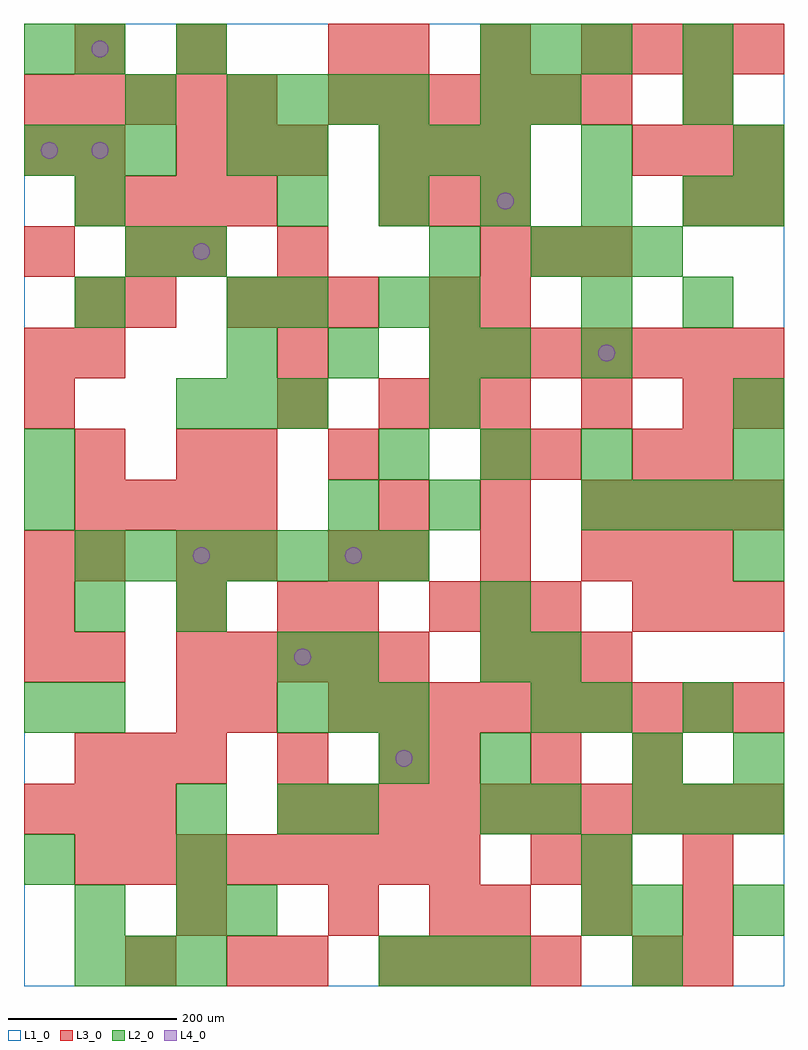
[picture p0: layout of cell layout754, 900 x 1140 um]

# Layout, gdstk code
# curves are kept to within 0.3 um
import gdstk
lib = gdstk.Library(unit=1e-6, precision=1e-09)
def R(c, l, rs):  # rectangles x0, y0, x1, y1
    for r in rs: c.add(gdstk.rectangle(r[:2], r[2:], *l))
def A(c, l, x, y, w, h, nx, ny, dx, dy):  # array of equal rectangles
    R(c, l, [(x+i*dx, y+j*dy, x+i*dx+w, y+j*dy+h) for i in range(nx) for j in range(ny)])
def P(c, l, *ps):  # polygons
    for p in ps: c.add(gdstk.Polygon(p, *l))
L1_0 = (1, 0)
L2_0 = (2, 0)
L3_0 = (3, 0)
L4_0 = (4, 0)

layout754 = lib.new_cell('layout754')
R(layout754, L1_0, [(0,0,900,1140)])
A(layout754, L2_0, 60, 0, 60, 60, 3, 1, 60, 0)
A(layout754, L2_0, 420, 0, 60, 60, 3, 2, 60, 960)
A(layout754, L2_0, 180, 60, 60, 60, 1, 3, 0, 60)
A(layout754, L2_0, 360, 180, 60, 60, 1, 3, 0, 180)
A(layout754, L2_0, 720, 180, 60, 60, 3, 1, 60, 0)
A(layout754, L2_0, 300, 300, 60, 60, 3, 1, 60, 0)
A(layout754, L2_0, 540, 420, 60, 60, 1, 3, 0, 300)
A(layout754, L2_0, 60, 480, 60, 60, 7, 1, 60, 0)
A(layout754, L2_0, 480, 540, 60, 60, 1, 3, 0, 120)
A(layout754, L2_0, 660, 540, 60, 60, 4, 1, 60, 0)
A(layout754, L2_0, 420, 600, 60, 60, 3, 1, 120, 0)
A(layout754, L2_0, 180, 660, 60, 60, 3, 1, 60, 0)
A(layout754, L2_0, 240, 720, 60, 60, 3, 1, 120, 0)
A(layout754, L2_0, 600, 840, 60, 60, 3, 1, 60, 0)
A(layout754, L2_0, 300, 900, 60, 60, 5, 1, 120, 0)
A(layout754, L2_0, 0, 960, 60, 60, 3, 1, 60, 0)
A(layout754, L2_0, 240, 1020, 60, 60, 4, 1, 60, 0)
A(layout754, L2_0, 540, 1080, 60, 60, 3, 1, 60, 0)
R(layout754, L2_0, [(720,0,780,60), (60,60,120,120), (240,60,300,120), (660,60,720,120), (720,60,780,120), (840,60,900,120), (0,120,60,180), (660,120,720,180), (300,180,360,240), (540,180,600,240), (600,180,660,240), (420,240,480,300), (540,240,600,300), (720,240,780,300), (840,240,900,300), (0,300,60,360), (60,300,120,360), (600,300,660,360), (660,300,720,360), (780,300,840,360), (300,360,360,420), (540,360,600,420), (600,360,660,420), (60,420,120,480), (180,420,240,480), (840,480,900,540), (0,540,60,600), (0,600,60,660), (840,600,900,660), (840,660,900,720), (660,720,720,780), (60,780,120,840), (240,780,300,840), (300,780,360,840), (420,780,480,840), (660,780,720,840), (780,780,840,840), (120,840,180,900), (180,840,240,900), (480,840,540,900), (60,900,120,960), (840,900,900,960), (240,960,300,1020), (300,960,360,1020), (660,960,720,1020), (840,960,900,1020), (120,1020,180,1080), (600,1020,660,1080), (780,1020,840,1080), (0,1080,60,1140), (60,1080,120,1140), (180,1080,240,1140), (780,1080,840,1140)])
A(layout754, L3_0, 420, 0, 60, 60, 4, 1, 60, 0)
A(layout754, L3_0, 540, 60, 60, 60, 3, 1, 120, 0)
A(layout754, L3_0, 60, 120, 60, 60, 8, 1, 60, 0)
A(layout754, L3_0, 0, 180, 60, 60, 3, 1, 60, 0)
A(layout754, L3_0, 300, 180, 60, 60, 10, 1, 60, 0)
A(layout754, L3_0, 60, 240, 60, 60, 3, 1, 60, 0)
A(layout754, L3_0, 480, 240, 60, 60, 3, 1, 120, 0)
A(layout754, L3_0, 360, 300, 60, 60, 9, 1, 60, 0)
A(layout754, L3_0, 0, 360, 60, 60, 1, 3, 0, 60)
A(layout754, L3_0, 60, 360, 60, 60, 1, 4, 0, 120)
A(layout754, L3_0, 180, 360, 60, 60, 5, 1, 60, 0)
A(layout754, L3_0, 540, 360, 60, 60, 3, 2, 60, 480)
A(layout754, L3_0, 480, 420, 60, 60, 3, 1, 60, 0)
A(layout754, L3_0, 720, 420, 60, 60, 3, 2, 60, 120)
A(layout754, L3_0, 420, 480, 60, 60, 3, 2, 120, 60)
A(layout754, L3_0, 60, 540, 60, 60, 4, 2, 60, 360)
A(layout754, L3_0, 180, 600, 60, 60, 1, 3, 0, 240)
A(layout754, L3_0, 420, 660, 60, 60, 3, 2, 60, 240)
A(layout754, L3_0, 0, 720, 60, 60, 1, 3, 0, 120)
A(layout754, L3_0, 480, 720, 60, 60, 7, 1, 60, 0)
A(layout754, L3_0, 240, 780, 60, 60, 3, 1, 60, 0)
A(layout754, L3_0, 180, 960, 60, 60, 3, 1, 60, 0)
A(layout754, L3_0, 420, 960, 60, 60, 3, 1, 60, 0)
A(layout754, L3_0, 720, 960, 60, 60, 3, 2, 60, 120)
A(layout754, L3_0, 0, 1020, 60, 60, 5, 1, 60, 0)
A(layout754, L3_0, 360, 1020, 60, 60, 6, 1, 60, 0)
A(layout754, L3_0, 420, 1080, 60, 60, 3, 1, 120, 0)
R(layout754, L3_0, [(120,0,180,60), (240,0,300,60), (300,0,360,60), (720,0,780,60), (780,0,840,60), (180,60,240,120), (360,60,420,120), (480,60,540,120), (600,120,660,180), (660,120,720,180), (780,120,840,180), (300,240,360,300), (420,240,480,300), (180,300,240,360), (240,300,300,360), (180,420,240,480), (300,420,360,480), (360,420,420,480), (180,480,240,540), (240,480,300,540), (360,480,420,540), (720,480,780,540), (780,480,840,540), (240,600,300,660), (360,600,420,660), (540,600,600,660), (600,600,660,660), (720,600,780,660), (780,600,840,660), (0,660,60,720), (300,660,360,720), (660,660,720,720), (780,660,840,720), (840,660,900,720), (300,720,360,780), (60,780,120,840), (120,780,180,840), (480,780,540,840), (540,780,600,840), (120,840,180,900), (300,840,360,900), (780,900,840,960), (840,900,900,960), (60,960,120,1020), (780,1020,840,1080), (60,1080,120,1140), (360,1080,420,1140)])
P(layout754, L4_0, [(40,990),(39.239,993.827),(37.071,997.071),(33.827,999.239),(30,1000),(26.173,999.239),(22.929,997.071),(20.761,993.827),(20,990),(20.761,986.173),(22.929,982.929),(26.173,980.761),(30,980),(33.827,980.761),(37.071,982.929),(39.239,986.173)],
  [(100,990),(99.239,993.827),(97.071,997.071),(93.827,999.239),(90,1000),(86.173,999.239),(82.929,997.071),(80.761,993.827),(80,990),(80.761,986.173),(82.929,982.929),(86.173,980.761),(90,980),(93.827,980.761),(97.071,982.929),(99.239,986.173)],
  [(100,1110),(99.239,1113.827),(97.071,1117.071),(93.827,1119.239),(90,1120),(86.173,1119.239),(82.929,1117.071),(80.761,1113.827),(80,1110),(80.761,1106.173),(82.929,1102.929),(86.173,1100.761),(90,1100),(93.827,1100.761),(97.071,1102.929),(99.239,1106.173)],
  [(220,510),(219.239,513.827),(217.071,517.071),(213.827,519.239),(210,520),(206.173,519.239),(202.929,517.071),(200.761,513.827),(200,510),(200.761,506.173),(202.929,502.929),(206.173,500.761),(210,500),(213.827,500.761),(217.071,502.929),(219.239,506.173)],
  [(220,870),(219.239,873.827),(217.071,877.071),(213.827,879.239),(210,880),(206.173,879.239),(202.929,877.071),(200.761,873.827),(200,870),(200.761,866.173),(202.929,862.929),(206.173,860.761),(210,860),(213.827,860.761),(217.071,862.929),(219.239,866.173)],
  [(340,390),(339.239,393.827),(337.071,397.071),(333.827,399.239),(330,400),(326.173,399.239),(322.929,397.071),(320.761,393.827),(320,390),(320.761,386.173),(322.929,382.929),(326.173,380.761),(330,380),(333.827,380.761),(337.071,382.929),(339.239,386.173)],
  [(400,510),(399.239,513.827),(397.071,517.071),(393.827,519.239),(390,520),(386.173,519.239),(382.929,517.071),(380.761,513.827),(380,510),(380.761,506.173),(382.929,502.929),(386.173,500.761),(390,500),(393.827,500.761),(397.071,502.929),(399.239,506.173)],
  [(460,270),(459.239,273.827),(457.071,277.071),(453.827,279.239),(450,280),(446.173,279.239),(442.929,277.071),(440.761,273.827),(440,270),(440.761,266.173),(442.929,262.929),(446.173,260.761),(450,260),(453.827,260.761),(457.071,262.929),(459.239,266.173)],
  [(580,930),(579.239,933.827),(577.071,937.071),(573.827,939.239),(570,940),(566.173,939.239),(562.929,937.071),(560.761,933.827),(560,930),(560.761,926.173),(562.929,922.929),(566.173,920.761),(570,920),(573.827,920.761),(577.071,922.929),(579.239,926.173)],
  [(700,750),(699.239,753.827),(697.071,757.071),(693.827,759.239),(690,760),(686.173,759.239),(682.929,757.071),(680.761,753.827),(680,750),(680.761,746.173),(682.929,742.929),(686.173,740.761),(690,740),(693.827,740.761),(697.071,742.929),(699.239,746.173)])

lib.write_gds('layout754.gds')
